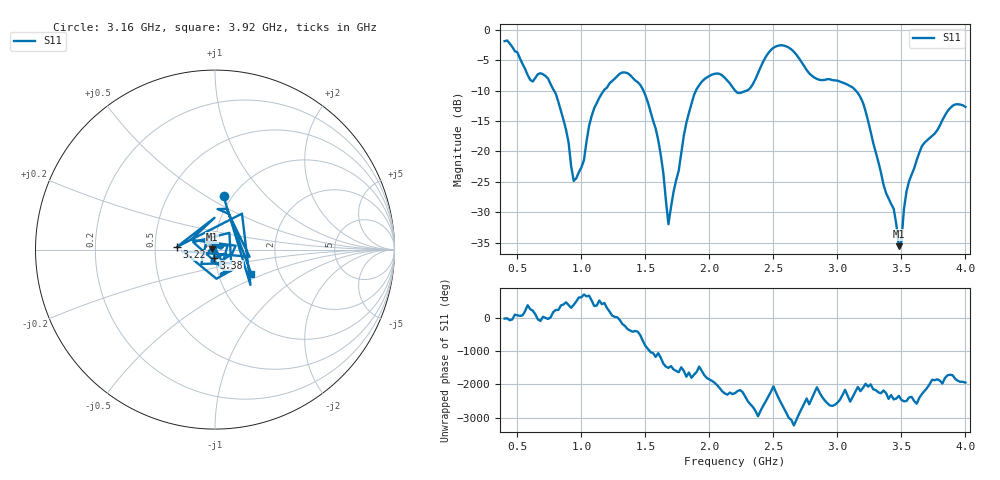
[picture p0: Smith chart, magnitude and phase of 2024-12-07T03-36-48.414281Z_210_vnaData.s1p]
!Created with skrf (http://scikit-rf.org).
# Hz S RI R 50.0
!freq ReS11 ImS11
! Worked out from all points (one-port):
!   181 points, 400 MHz to 4 GHz, reference 50 ohm
!   lowest |S11| = -35.6 dB at 3.48 GHz (marker M1), VSWR 1.03, Z = 48.4 + j0.211 ohm
!   |S11| at or under -10 dB: 785.3 MHz to 1.175 GHz (389.9 MHz wide, 39.8 % of centre); 1.484 GHz to 1.895 GHz (411.2 MHz wide, 24.3 % of centre); 3.143 GHz to end of sweep (the widest 3 of 4)
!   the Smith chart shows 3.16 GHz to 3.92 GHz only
!   S11 on the Smith chart (normalised r, x): 3.16 GHz: 0.91, +0.60; 3.22 GHz: 0.65, +0.02; 3.38 GHz: 0.98, -0.09; 3.92 GHz: 1.44, -0.41
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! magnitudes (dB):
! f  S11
! 400 MHz  -1.9
! 600 MHz  -8.2
! 740 MHz  -8.0
! 860 MHz  -14.8
! 940 MHz  -24.9
! 1.02 GHz  -21.4
! 1.1 GHz  -12.9
! 1.3 GHz  -7.2
! 1.52 GHz  -12.0
! 1.62 GHz  -20.6
! 1.68 GHz  -32.0
! 1.76 GHz  -23.2
! 1.82 GHz  -15.3
! 1.92 GHz  -9.1
! 2.06 GHz  -7.2
! 2.2 GHz  -10.0
! 2.32 GHz  -9.6
! 2.5 GHz  -3.0
! 2.66 GHz  -3.6
! 3.1 GHz  -9.3
! 3.16 GHz  -10.4
! 3.22 GHz  -13.4
! 3.38 GHz  -26.8
! 3.44 GHz  -29.4
! 3.48 GHz  -35.6
! 3.56 GHz  -24.9
! 3.92 GHz  -12.3
! 4 GHz  -12.7
